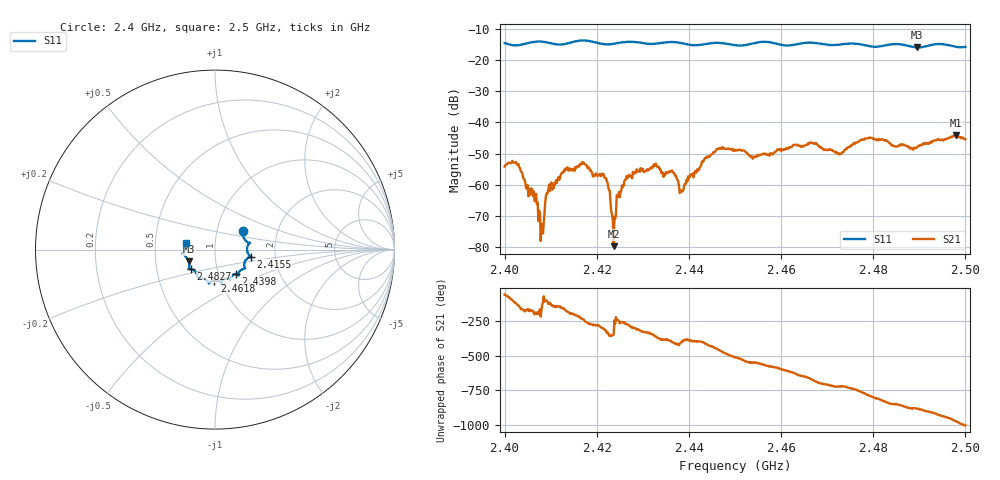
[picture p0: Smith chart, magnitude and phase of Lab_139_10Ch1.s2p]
# Hz S RI R 50
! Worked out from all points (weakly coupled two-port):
!   601 points, 2.4 GHz to 2.5 GHz, reference 50 ohm
!   highest |S21| = -44.17 dB at 2.498 GHz (marker M1); lowest = -79.8 dB at 2.4237 GHz (marker M2)
!   lowest |S11| = -15.9 dB at 2.4895 GHz (marker M3), VSWR 1.38, Z = 37 - j5 ohm
!   |S11| at or under -10 dB: start of sweep to end of sweep
!   S12 and S22 are empty: the file has one direction only
!   S11 on the Smith chart (normalised r, x): 2.4 GHz: 1.33, +0.29; 2.4155 GHz: 1.49, -0.12; 2.4398 GHz: 1.21, -0.34; 2.4618 GHz: 0.94, -0.33; 2.4827 GHz: 0.75, -0.17; 2.5 GHz: 0.72, +0.06
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2.4e9  0.155 0.1063  0.000962 -0.0017  0 0  0 0
2.403e9  0.1637 0.059  -0.00169 -0.00129  0 0  0 0
2.408167e9  0.1948 0.0377  -0.000153 -0.000162  0 0  0 0
2.409667e9  0.1874 0.0301  -0.00057 -0.000826  0 0  0 0
2.4155e9  0.1979 -0.0396  -0.00157 0.000943  0 0  0 0
2.416667e9  0.2028 -0.0431  -0.00121 0.00175  0 0  0 0
2.421833e9  0.1687 -0.0625  0.000973 0.000819  0 0  0 0
2.423667e9  0.1628 -0.0846  0.000101 1.6e-05  0 0  0 0
2.4265e9  0.168 -0.103  6.34e-05 0.00137  0 0  0 0
2.433333e9  0.1299 -0.1339  0.00186 -0.000508  0 0  0 0
2.438333e9  0.1269 -0.1392  0.000567 -0.000571  0 0  0 0
2.439833e9  0.1152 -0.1361  0.0012 -0.000633  0 0  0 0
2.446333e9  0.0839 -0.1705  -0.000448 -0.0037  0 0  0 0
2.45e9  0.0649 -0.1617  -0.00305 -0.00176  0 0  0 0
2.461833e9  -0.00299 -0.1728  -0.000955 0.00392  0 0  0 0
2.466667e9  -0.0347 -0.1882  0.00321 0.00344  0 0  0 0
2.472667e9  -0.0775 -0.1603  0.00306 -0.000152  0 0  0 0
2.482667e9  -0.1349 -0.109  -0.00208 -0.00482  0 0  0 0
2.483333e9  -0.14 -0.1086  -0.00262 -0.00403  0 0  0 0
2.4895e9  -0.1462 -0.0659  -0.00383 -0.00119  0 0  0 0
2.498e9  -0.1638 0.00517  -0.00169 0.00595  0 0  0 0
2.5e9  -0.1594 0.039  0.00131 0.00518  0 0  0 0
